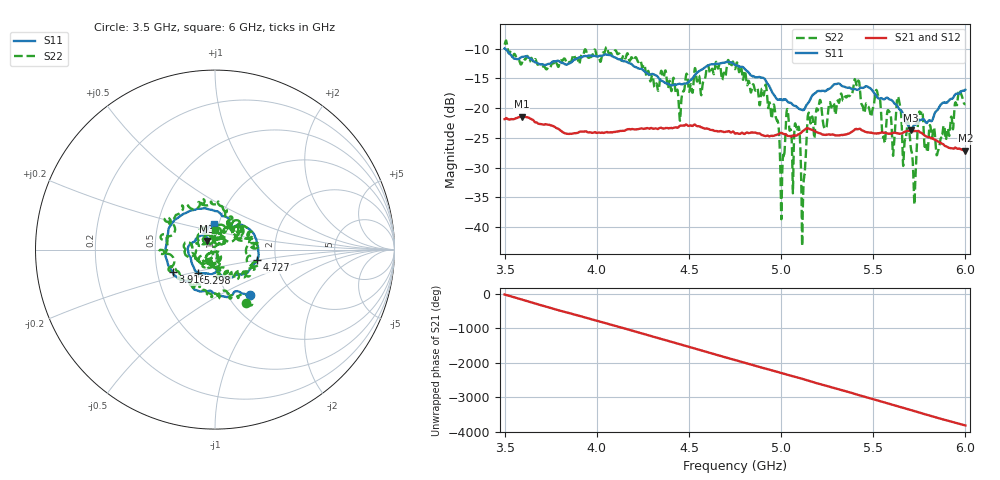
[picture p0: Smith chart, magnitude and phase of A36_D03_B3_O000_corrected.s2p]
! Created with skrf 1.9.0 (http://scikit-rf.org).
# Hz S RI R 50.0
!freq ReS11 ImS11 ReS21 ImS21 ReS12 ImS12 ReS22 ImS22
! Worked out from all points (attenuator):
!   1601 points, 3.5 GHz to 6 GHz, reference 50 ohm
!   highest |S21| = -21.43 dB at 3.592 GHz (marker M1); lowest = -27.1 dB at 6 GHz (marker M2)
!   lowest |S11| = -23.7 dB at 5.703 GHz (marker M3), VSWR 1.14, Z = 45.6 + j4.4 ohm
!   |S11| at or under -10 dB: 3.502 GHz to end of sweep
!   |S22| runs from -43.2 to -8.6 dB; largest |S21 - S12| = 0.00094
!   S11 on the Smith chart (normalised r, x): 3.5 GHz: 1.27, -0.71; 3.916 GHz: 0.60, -0.16; 4.727 GHz: 1.60, -0.19; 5.298 GHz: 0.80, -0.21; 6 GHz: 0.95, +0.28
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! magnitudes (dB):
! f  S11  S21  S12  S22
! 3.5 GHz  -10.0  -21.9  -21.8  -9.3
! 3.592 GHz  -11.4  -21.4  -21.4  -12.5
! 3.916 GHz  -11.4  -24.0  -23.9  -11.1
! 3.917 GHz  -11.5  -23.9  -23.9  -11.0
! 4.334 GHz  -14.9  -23.5  -23.4  -17.0
! 4.727 GHz  -12.3  -24.1  -24.0  -13.1
! 4.75 GHz  -12.7  -24.3  -24.2  -13.4
! 4.969 GHz  -18.1  -24.5  -24.5  -21.0
! 5.006 GHz  -18.7  -24.2  -24.2  -30.8
! 5.034 GHz  -18.9  -24.7  -24.6  -20.2
! 5.088 GHz  -19.8  -24.5  -24.5  -23.7
! 5.119 GHz  -20.3  -23.8  -23.8  -35.8
! 5.145 GHz  -19.2  -23.4  -23.3  -21.2
! 5.167 GHz  -18.0  -23.6  -23.6  -21.5
! 5.298 GHz  -15.9  -24.6  -24.5  -20.5
! 5.409 GHz  -16.9  -23.5  -23.5  -16.1
! 5.584 GHz  -18.5  -24.3  -24.3  -20.4
! 5.703 GHz  -23.7  -23.9  -23.8  -26.4
! 5.722 GHz  -22.8  -23.8  -23.8  -35.2
! 5.756 GHz  -22.0  -24.1  -24.0  -20.9
! 5.852 GHz  -20.2  -25.6  -25.5  -27.2
! 6 GHz  -16.9  -27.1  -27.1  -19.3
